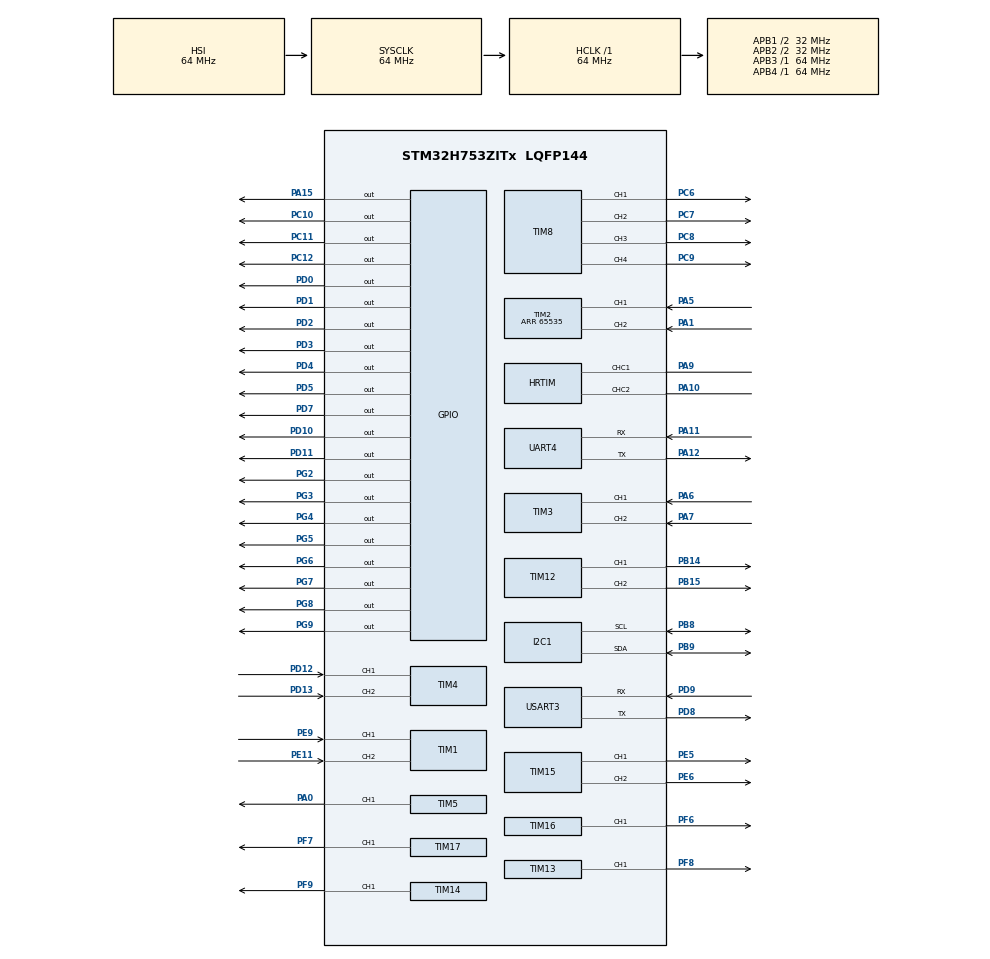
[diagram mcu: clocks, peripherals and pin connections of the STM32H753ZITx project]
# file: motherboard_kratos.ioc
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CORTEX_M7.default_mode_Activation=1
FREERTOS.Tasks01=microros_task,28,3000,StartDefaultTask,Default,NULL,Dynamic,NULL,NULL;motor_control,47,128,StartTask02,Default,NULL,Dynamic,NULL,NULL;LD_task,33,128,StartTask04,Default,NULL,Dynamic,NULL,NULL;oled_battery,24,128,StartTask07,Default,NULL,Dynamic,NULL,NULL
FREERTOS.configTOTAL_HEAP_SIZE=70000
FREERTOS.configUSE_NEWLIB_REENTRANT=1
I2C1.Timing=0x00707CBB
IWDG1.Prescaler=IWDG_PRESCALER_64
IWDG1.Reload=2500
Mcu.Family=STM32H7
Mcu.Name=STM32H753ZITx
Mcu.Package=LQFP144
NVIC.PriorityGroup=NVIC_PRIORITYGROUP_4
NVIC.TIM6_DAC_IRQn=true\:15\:0\:false\:false\:true\:false\:false\:true\:true
NVIC.TimeBase=TIM6_DAC_IRQn
NVIC.TimeBaseIP=TIM6
NVIC.USART3_IRQn=true\:5\:0\:false\:false\:true\:true\:true\:true\:true
PA0.Signal=S_TIM5_CH1
PA1.Signal=S_TIM2_CH2
PA10.Mode=Output_TC1TC2
PA10.Signal=HRTIM_CHC2
PA11.Mode=Asynchronous
PA11.Signal=UART4_RX
PA12.Mode=Asynchronous
PA12.Signal=UART4_TX
PA15\ (JTDI).Signal=GPIO_Output
PA5.Signal=S_TIM2_CH1_ETR
PA6.Signal=S_TIM3_CH1
PA7.Signal=S_TIM3_CH2
PA9.Mode=Output_TC1TC2
PA9.Signal=HRTIM_CHC1
PB14.Signal=S_TIM12_CH1
PB15.Signal=S_TIM12_CH2
PB8.Mode=I2C
PB8.Signal=I2C1_SCL
PB9.Mode=I2C
PB9.Signal=I2C1_SDA
PC10.Signal=GPIO_Output
PC11.Signal=GPIO_Output
PC12.Signal=GPIO_Output
PC6.Signal=S_TIM8_CH1
PC7.Signal=S_TIM8_CH2
PC8.Signal=S_TIM8_CH3
PC9.Signal=S_TIM8_CH4
PD0.Signal=GPIO_Output
PD1.Signal=GPIO_Output
PD10.Signal=GPIO_Output
PD11.Signal=GPIO_Output
PD12.Signal=S_TIM4_CH1
PD13.Signal=S_TIM4_CH2
PD2.Signal=GPIO_Output
PD3.Signal=GPIO_Output
PD4.Signal=GPIO_Output
PD5.Signal=GPIO_Output
PD7.Signal=GPIO_Output
PD8.Mode=Asynchronous
PD8.Signal=USART3_TX
PD9.Mode=Asynchronous
PD9.Signal=USART3_RX
PE11.Signal=S_TIM1_CH2
PE5.Signal=S_TIM15_CH1
PE6.Signal=S_TIM15_CH2
PE9.Signal=S_TIM1_CH1
PF6.Signal=S_TIM16_CH1
PF7.Signal=S_TIM17_CH1
PF8.Signal=S_TIM13_CH1
PF9.Signal=S_TIM14_CH1
PG2.Signal=GPIO_Output
PG3.Signal=GPIO_Output
PG4.Signal=GPIO_Output
PG5.Signal=GPIO_Output
PG6.Signal=GPIO_Output
PG7.Signal=GPIO_Output
PG8.Signal=GPIO_Output
PG9.Signal=GPIO_Output
ProjectManager.HeapSize=0x200
ProjectManager.StackSize=0x400
ProjectManager.TargetToolchain=STM32CubeIDE
RCC.ADCFreq_Value=129000000
RCC.APB1Freq_Value=32000000
RCC.APB2Freq_Value=32000000
RCC.APB3Freq_Value=64000000
RCC.APB4Freq_Value=64000000
RCC.CortexFreq_Value=64000000
RCC.D2PPRE1=RCC_APB1_DIV2
RCC.D2PPRE2=RCC_APB2_DIV2
RCC.HCLKFreq_Value=64000000
RCC.SYSCLKFreq_VALUE=64000000
RCC.USBFreq_Value=129000000
SH.S_TIM12_CH1.0=TIM12_CH1,PWM Generation1 CH1
SH.S_TIM12_CH2.0=TIM12_CH2,PWM Generation2 CH2
SH.S_TIM13_CH1.0=TIM13_CH1,PWM Generation1 CH1
SH.S_TIM14_CH1.0=TIM14_CH1,PWM Generation1 CH1
SH.S_TIM15_CH1.0=TIM15_CH1,PWM Generation1 CH1
SH.S_TIM15_CH2.0=TIM15_CH2,PWM Generation2 CH2
SH.S_TIM16_CH1.0=TIM16_CH1,PWM Generation1 CH1
SH.S_TIM17_CH1.0=TIM17_CH1,PWM Generation1 CH1
SH.S_TIM1_CH1.0=TIM1_CH1,Encoder_Interface
SH.S_TIM1_CH2.0=TIM1_CH2,Encoder_Interface
SH.S_TIM2_CH1_ETR.0=TIM2_CH1,Encoder_Interface
SH.S_TIM2_CH2.0=TIM2_CH2,Encoder_Interface
SH.S_TIM3_CH1.0=TIM3_CH1,Encoder_Interface
SH.S_TIM3_CH2.0=TIM3_CH2,Encoder_Interface
SH.S_TIM4_CH1.0=TIM4_CH1,Encoder_Interface
SH.S_TIM4_CH2.0=TIM4_CH2,Encoder_Interface
SH.S_TIM5_CH1.0=TIM5_CH1,PWM Generation1 CH1
SH.S_TIM8_CH1.0=TIM8_CH1,PWM Generation1 CH1
SH.S_TIM8_CH2.0=TIM8_CH2,PWM Generation2 CH2
SH.S_TIM8_CH3.0=TIM8_CH3,PWM Generation3 CH3
SH.S_TIM8_CH4.0=TIM8_CH4,PWM Generation4 CH4
TIM12.Channel-PWM\ Generation1\ CH1=TIM_CHANNEL_1
TIM12.Channel-PWM\ Generation2\ CH2=TIM_CHANNEL_2
TIM13.Channel=TIM_CHANNEL_1
TIM14.Channel=TIM_CHANNEL_1
TIM15.Channel-PWM\ Generation1\ CH1=TIM_CHANNEL_1
TIM15.Channel-PWM\ Generation2\ CH2=TIM_CHANNEL_2
TIM16.Channel=TIM_CHANNEL_1
TIM17.Channel=TIM_CHANNEL_1
TIM2.EncoderMode=TIM_ENCODERMODE_TI12
TIM2.IC1Filter=5
TIM2.Period=65535
TIM5.Channel-PWM\ Generation1\ CH1=TIM_CHANNEL_1
TIM8.Channel-PWM\ Generation1\ CH1=TIM_CHANNEL_1
TIM8.Channel-PWM\ Generation2\ CH2=TIM_CHANNEL_2
TIM8.Channel-PWM\ Generation3\ CH3=TIM_CHANNEL_3
TIM8.Channel-PWM\ Generation4\ CH4=TIM_CHANNEL_4
USART3.VirtualMode-Asynchronous=VM_ASYNC
VP_FREERTOS_VS_CMSIS_V2.Mode=CMSIS_V2
VP_IWDG1_VS_IWDG.Mode=IWDG_Activate
VP_MEMORYMAP_VS_MEMORYMAP.Mode=CurAppReg
VP_SYS_VS_tim6.Mode=TIM6
VP_TIM13_VS_ClockSourceINT.Mode=Enable_Timer
VP_TIM14_VS_ClockSourceINT.Mode=Enable_Timer
VP_TIM16_VS_ClockSourceINT.Mode=Enable_Timer
VP_TIM17_VS_ClockSourceINT.Mode=Enable_Timer
board=custom

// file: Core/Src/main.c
/* USER CODE BEGIN Header */
/**
  ******************************************************************************
  * @file           : main.c
  * @brief          : Main program body
  ******************************************************************************
  * @attention
  *
  * Copyright (c) 2026 STMicroelectronics.
  * All rights reserved.
  *
  * This software is licensed under terms that can be found in the LICENSE file
  * in the root directory of this software component.
  * If no LICENSE file comes with this software, it is provided AS-IS.
  *
  ******************************************************************************
  */
/* USER CODE END Header */
#include "main.h"
#include "FreeRTOS.h"
#include "cmsis_os2.h"
#include "hrtim.h"
#include "i2c.h"
#include "iwdg.h"
#include "tim.h"
#include "usart.h"
#include "gpio.h"

/* USER CODE BEGIN Includes */
#include "rcl/rcl.h"
#include "rclc/rclc.h"
#include "rclc/executor.h"
#include <uxr/client/transport.h>
#include <rmw_microxrcedds_c/config.h>
#include "rmw_microros/rmw_microros.h"
#include <std_msgs/msg/int32.h>
#include <std_msgs/msg/bool.h>
#include "stdio.h"
#include <kratos_teerth_rohan_pandya_msgs/msg/rover_status.h>
/* USER CODE END Includes */

void SystemClock_Config(void);
static void MPU_Config(void);
void MX_FREERTOS_Init(void);

int main(void)
{

  /* MPU Configuration--------------------------------------------------------*/
  MPU_Config();

  /* MCU Configuration--------------------------------------------------------*/

  /* Reset of all peripherals, Initializes the Flash interface and the Systick. */
  HAL_Init();

  /* Configure the system clock */
  SystemClock_Config();

  /* Initialize all configured peripherals */
  MX_GPIO_Init();
  MX_HRTIM_Init();
  MX_I2C1_Init();
  MX_TIM1_Init();
  MX_TIM2_Init();
  MX_TIM3_Init();
  MX_TIM4_Init();
  MX_TIM5_Init();
  MX_TIM8_Init();
  MX_TIM12_Init();
  MX_TIM13_Init();
  MX_TIM14_Init();
  MX_TIM15_Init();
  MX_TIM16_Init();
  MX_TIM17_Init();
  MX_UART4_Init();
  MX_IWDG1_Init();
  MX_USART3_UART_Init();
  /* USER CODE BEGIN 2 */
//  __HAL_DBGMCU_FREEZE_IWDG1();
  /* USER CODE END 2 */

  /* Init scheduler */
  osKernelInitialize();  /* Call init function for freertos objects (in cmsis_os2.c) */
  MX_FREERTOS_Init();

  /* Start scheduler */
  osKernelStart();

  /* We should never get here as control is now taken by the scheduler */

  /* Infinite loop */
  while (1)
  {

  }
}

void SystemClock_Config(void)
{
  RCC_OscInitTypeDef RCC_OscInitStruct = {0};
  RCC_ClkInitTypeDef RCC_ClkInitStruct = {0};

  /** Supply configuration update enable
  */
  HAL_PWREx_ConfigSupply(PWR_LDO_SUPPLY);

  /** Configure the main internal regulator output voltage
  */
  __HAL_PWR_VOLTAGESCALING_CONFIG(PWR_REGULATOR_VOLTAGE_SCALE3);

  while(!__HAL_PWR_GET_FLAG(PWR_FLAG_VOSRDY)) {}

  /** Initializes the RCC Oscillators according to the specified parameters
  * in the RCC_OscInitTypeDef structure.
  */
  RCC_OscInitStruct.OscillatorType = RCC_OSCILLATORTYPE_HSI|RCC_OSCILLATORTYPE_LSI;
  RCC_OscInitStruct.HSIState = RCC_HSI_DIV1;
  RCC_OscInitStruct.HSICalibrationValue = RCC_HSICALIBRATION_DEFAULT;
  RCC_OscInitStruct.LSIState = RCC_LSI_ON;
  RCC_OscInitStruct.PLL.PLLState = RCC_PLL_NONE;
  if (HAL_RCC_OscConfig(&RCC_OscInitStruct) != HAL_OK)
  {
    Error_Handler();
  }

  /** Initializes the CPU, AHB and APB buses clocks
  */
  RCC_ClkInitStruct.ClockType = RCC_CLOCKTYPE_HCLK|RCC_CLOCKTYPE_SYSCLK
                              |RCC_CLOCKTYPE_PCLK1|RCC_CLOCKTYPE_PCLK2
                              |RCC_CLOCKTYPE_D3PCLK1|RCC_CLOCKTYPE_D1PCLK1;
  RCC_ClkInitStruct.SYSCLKSource = RCC_SYSCLKSOURCE_HSI;
  RCC_ClkInitStruct.SYSCLKDivider = RCC_SYSCLK_DIV1;
  RCC_ClkInitStruct.AHBCLKDivider = RCC_HCLK_DIV1;
  RCC_ClkInitStruct.APB3CLKDivider = RCC_APB3_DIV1;
  RCC_ClkInitStruct.APB1CLKDivider = RCC_APB1_DIV2;
  RCC_ClkInitStruct.APB2CLKDivider = RCC_APB2_DIV2;
  RCC_ClkInitStruct.APB4CLKDivider = RCC_APB4_DIV1;

  if (HAL_RCC_ClockConfig(&RCC_ClkInitStruct, FLASH_LATENCY_1) != HAL_OK)
  {
    Error_Handler();
  }
}

 /* MPU Configuration */

void MPU_Config(void)
{
  MPU_Region_InitTypeDef MPU_InitStruct = {0};

  /* Disables the MPU */
  HAL_MPU_Disable();

  /** Initializes and configures the Region and the memory to be protected
  */
  MPU_InitStruct.Enable = MPU_REGION_ENABLE;
  MPU_InitStruct.Number = MPU_REGION_NUMBER0;
  MPU_InitStruct.BaseAddress = 0x0;
  MPU_InitStruct.Size = MPU_REGION_SIZE_4GB;
  MPU_InitStruct.SubRegionDisable = 0x87;
  MPU_InitStruct.TypeExtField = MPU_TEX_LEVEL0;
  MPU_InitStruct.AccessPermission = MPU_REGION_NO_ACCESS;
  MPU_InitStruct.DisableExec = MPU_INSTRUCTION_ACCESS_DISABLE;
  MPU_InitStruct.IsShareable = MPU_ACCESS_SHAREABLE;
  MPU_InitStruct.IsCacheable = MPU_ACCESS_NOT_CACHEABLE;
  MPU_InitStruct.IsBufferable = MPU_ACCESS_NOT_BUFFERABLE;

  HAL_MPU_ConfigRegion(&MPU_InitStruct);
  /* Enables the MPU */
  HAL_MPU_Enable(MPU_PRIVILEGED_DEFAULT);

}

void HAL_TIM_PeriodElapsedCallback(TIM_HandleTypeDef *htim)
{
  if (htim->Instance == TIM6)
  {
    HAL_IncTick();
  }
}

void Error_Handler(void)
{
  __disable_irq();
  while (1)
  {
  }
}

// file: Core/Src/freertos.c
/* USER CODE BEGIN Header */
/**
  ******************************************************************************
  * File Name          : freertos.c
  * Description        : Code for freertos applications
  ******************************************************************************
  * @attention
  *
  * Copyright (c) 2026 STMicroelectronics.
  * All rights reserved.
  *
  * This software is licensed under terms that can be found in the LICENSE file
  * in the root directory of this software component.
  * If no LICENSE file comes with this software, it is provided AS-IS.
  *
  ******************************************************************************
  */
/* USER CODE END Header */

#include "FreeRTOS.h"
#include "task.h"
#include "main.h"
#include "FreeRTOS.h"
#include "cmsis_os2.h"

/* USER CODE BEGIN Includes */
#include <string.h>
#include <stdio.h>
#include <stdbool.h>
#include "queue.h"
#include "iwdg.h"
#include <rcutils/allocator.h>
#include <rcl/rcl.h>
#include <rcl/error_handling.h>
#include <rclc/rclc.h>
#include <rclc/executor.h>
#include <uxr/client/transport.h>
#include <rmw_microxrcedds_c/config.h>
#include <rmw_microros/rmw_microros.h>
#include <std_msgs/msg/bool.h>
#include <std_msgs/msg/float32_multi_array.h>
#include <geometry_msgs/msg/twist.h>
#include <sys/time.h>
#include "motor_control.h"
#include "sensor_polling.h"
#include "ld_sensors.h"
#include "oled_battery.h"
#include "microros_main.h"
#include <kratos_teerth_rohan_pandya_msgs/msg/rover_status.h>
/* USER CODE END Includes */

/* USER CODE BEGIN PTD */
typedef enum states {
  WAITING_AGENT,
  AGENT_AVAILABLE,
  AGENT_CONNECTED,
  AGENT_DISCONNECTED
} state_t;

/* USER CODE END PTD */

/* USER CODE BEGIN PD */

#define SPIN_TIMEOUT_MS   10
#define PING_PERIOD_MS    1000
#define WDG_FEED()        HAL_IWDG_Refresh(&hiwdg1)

/* feed the watchdog, then bail out of the calling function on failure */
#define RCCHECK(fn)  do { WDG_FEED(); if ((fn) != RCL_RET_OK) return false; } while (0)

/* USER CODE END PD */

/* USER CODE BEGIN Variables */
extern UART_HandleTypeDef huart3;   /* transport UART */

bool cubemx_transport_open(struct uxrCustomTransport * transport);
bool cubemx_transport_close(struct uxrCustomTransport * transport);
size_t cubemx_transport_write(struct uxrCustomTransport* transport, const uint8_t * buf, size_t len, uint8_t * err);
size_t cubemx_transport_read(struct uxrCustomTransport* transport, uint8_t * buf, size_t len, int timeout, uint8_t * err);

void * microros_allocate(size_t size, void * state);
void microros_deallocate(void * pointer, void * state);
void * microros_reallocate(void * pointer, size_t size, void * state);
void * microros_zero_allocate(size_t number_of_elements, size_t size_of_element, void * state);

/* hardware hooks: implement these in your drive / arm / sensor files */

static rcl_allocator_t  allocator;
static rclc_support_t   support;
static rcl_node_t       node;
static rclc_executor_t  executor;
std_msgs__msg__Bool incoming_msg;

/* static storage for the array message, no malloc inside the callback */

/* USER CODE END Variables */
/* Definitions for microros_task */
osThreadId_t microros_taskHandle;
const osThreadAttr_t microros_task_attributes = {
  .name = "microros_task",
  .stack_size = 3000 * 4,
  .priority = (osPriority_t) osPriorityNormal4,
};
/* Definitions for motor_control */
osThreadId_t motor_controlHandle;
const osThreadAttr_t motor_control_attributes = {
  .name = "motor_control",
  .stack_size = 128 * 4,
  .priority = (osPriority_t) osPriorityHigh7,
};
/* Definitions for LD_task */
osThreadId_t LD_taskHandle;
const osThreadAttr_t LD_task_attributes = {
  .name = "LD_task",
  .stack_size = 128 * 4,
  .priority = (osPriority_t) osPriorityAboveNormal1,
};
/* Definitions for oled_battery */
osThreadId_t oled_batteryHandle;
const osThreadAttr_t oled_battery_attributes = {
  .name = "oled_battery",
  .stack_size = 128 * 4,
  .priority = (osPriority_t) osPriorityNormal,
};

/* USER CODE BEGIN FunctionPrototypes */
void custom_subscriber_callback(const void * msgin);
/* USER CODE END FunctionPrototypes */

void StartDefaultTask(void *argument);
void StartTask02(void *argument);
void StartTask04(void *argument);
void StartTask07(void *argument);

void MX_FREERTOS_Init(void); /* (MISRA C 2004 rule 8.1) */

void MX_FREERTOS_Init(void) {

  /* USER CODE BEGIN RTOS_QUEUES */
  /* length 1 on purpose: xQueueOverwrite() only works on 1-item queues */

  /* USER CODE END RTOS_QUEUES */

  /* Create the thread(s) */
  /* creation of microros_task */
  microros_taskHandle = osThreadNew(StartDefaultTask, NULL, &microros_task_attributes);

  /* creation of motor_control */
  motor_controlHandle = osThreadNew(StartTask02, NULL, &motor_control_attributes);

  /* creation of LD_task */
  LD_taskHandle = osThreadNew(StartTask04, NULL, &LD_task_attributes);

  /* creation of oled_battery */
  oled_batteryHandle = osThreadNew(StartTask07, NULL, &oled_battery_attributes);

}

/* USER CODE BEGIN Header_StartDefaultTask */
/* ---- callbacks (run inside the micro-ROS task, only push to queues) ---- */

/* ---- create / destroy all ROS entities ---- */
/**
  * @brief  Function implementing the micro-ROS thread.
  * @param  argument: Not used
  * @retval None
  */
/* USER CODE END Header_StartDefaultTask */
void StartDefaultTask(void *argument)
{
  /* USER CODE BEGIN StartDefaultTask */
  /* Infinite loop */
  for(;;)
  {
	microros_main_Run(argument);
    osDelay(1);
  }
  /* USER CODE END StartDefaultTask */
}

void StartTask02(void *argument)
{
  /* USER CODE BEGIN StartTask02 */
  (void)argument;

  for (;;)
  {
	  motor_control_Run(argument);
	  osDelay(50);
  }
  /* USER CODE END StartTask02 */
}

void StartTask04(void *argument)
{
  /* USER CODE BEGIN StartTask04 */
  (void)argument;

  for (;;)
  {
	  ld_sensors_Run(argument);
	  osDelay(100);
  }
  /* USER CODE END StartTask04 */
}

void StartTask07(void *argument)
{
  /* USER CODE BEGIN StartTask07 */
  /* Infinite loop */
  for(;;)
  {
	  oled_battery_Run(argument);
    osDelay(10);
  }
  /* USER CODE END StartTask07 */
}

/* USER CODE BEGIN Application */
int _gettimeofday(struct timeval *tv, void *tzvp)
{
    (void)tzvp; // Timezone is not supported
    if (tv != NULL) {
        // Get the FreeRTOS tick count (Assuming configTICK_RATE_HZ is 1000 / 1ms tick)
        uint32_t tick = xTaskGetTickCount();
        tv->tv_sec = tick / 1000;
        tv->tv_usec = (tick % 1000) * 1000;
    }
    return 0;
}

void custom_subscriber_callback(const void * msgin)
{
  const std_msgs__msg__Bool * msg = (const std_msgs__msg__Bool *)msgin;

  if (msg->data == true) {
      // Do something, e.g., turn on an LED or set a flag for motor_control
  }
}
/* USER CODE END Application */
